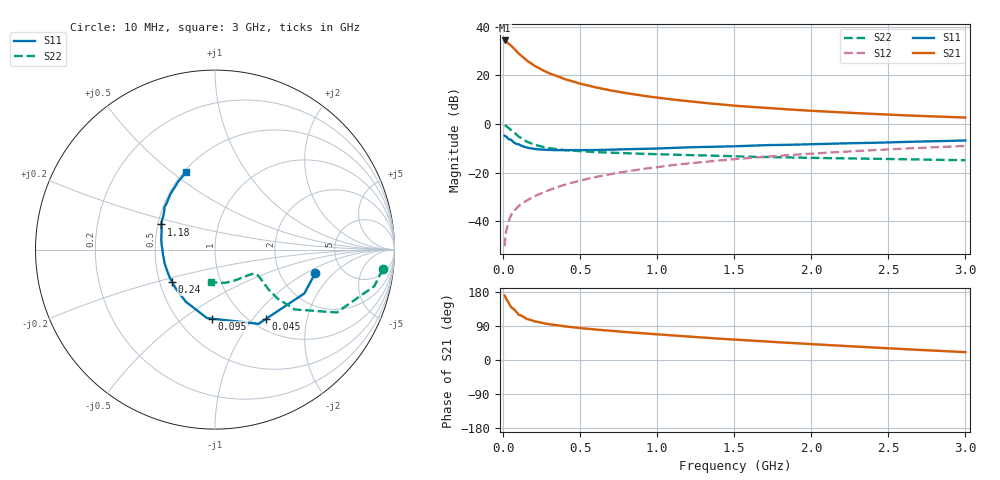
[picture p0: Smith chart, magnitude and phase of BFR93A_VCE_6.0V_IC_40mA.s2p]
! Infineon Technologies  Discrete & RF Semiconductors
! BFR93A
! VCE =  6.0 V,  IC =  40 mA
! Common Emitter S-Parameters:  Nov 2015
# GHz  S  MA  R  50
!  f  S11  S21  S12  S22
! GHz  MAG  ANG  MAG  ANG  MAG  ANG  MAG  ANG
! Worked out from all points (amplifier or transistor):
!   180 points, 10 MHz to 3 GHz, reference 50 ohm
!   highest |S21| = 34.3 dB at 10 MHz (marker M1)
!   |S21| within 3 dB of that: start of sweep to 65.63 MHz
!   unconditionally stable (mu >= 1): 326.6 MHz to 2.713 GHz
!   at 160 MHz: K = 0.82, MSG = 28.5 dB, |S12| = -31.2 dB
!   at 1.22 GHz: K = 1.08, MAG = 11.0 dB, |S12| = -16.1 dB
!   at 3 GHz: K = 0.98, MSG = 5.8 dB, |S12| = -9.0 dB
!   S11 on the Smith chart (normalised r, x): 10 MHz: 3.16, -1.23; 45 MHz: 1.17, -1.17; 95 MHz: 0.72, -0.65; 240 MHz: 0.58, -0.23; 1.18 GHz: 0.52, +0.16; 3 GHz: 0.51, +0.56
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0.01  0.5735 -13.2  52.09 170.2  0.0031 84.2  0.9406 -6.7
0.02  0.5545 -26.1  50.19 161.6  0.0063 78.2  0.9106 -12.9
0.045  0.4794 -53.5  42.39 144.3  0.012 70.4  0.7846 -24.5
0.05  0.4795 -59.6  41.39 140.2  0.0131 69.7  0.764 -27.3
0.095  0.3851 -92.4  29.38 122.7  0.0199 65.1  0.5757 -35.6
0.1  0.3842 -96.7  28.29 119.9  0.0207 64.8  0.5558 -36.9
0.15  0.3329 -119.1  20.6 109.1  0.0264 65.3  0.4411 -38.0
0.2  0.3095 -133.9  16.03 102.5  0.0322 67.1  0.3796 -36.9
0.24  0.3001 -142.6  13.65 98.9  0.0369 68.4  0.35 -35.6
0.26  0.2975 -146.2  12.65 97.2  0.0393 69.0  0.338 -35.0
0.3  0.2939 -151.9  11.01 94.3  0.0441 70.0  0.3196 -33.8
0.4  0.291 -164.2  8.359 88.7  0.0566 71.5  0.2915 -31.7
0.52  0.2912 -174.9  6.531 83.5  0.0714 71.8  0.2744 -30.9
0.6  0.2924 -179.8  5.672 80.4  0.0815 71.6  0.2656 -30.7
0.7  0.2985 174.9  4.888 76.9  0.094 71.1  0.2579 -31.4
0.88  0.3078 165.9  3.933 71.3  0.1159 69.8  0.2462 -33.4
1.02  0.3159 160.4  3.421 67.1  0.1331 68.5  0.2396 -35.5
1.18  0.3304 154.9  2.994 62.6  0.1525 66.8  0.2314 -38.8
1.52  0.3506 144.5  2.357 53.4  0.1918 63.1  0.2164 -46.4
2.02  0.3862 131.9  1.855 41.4  0.2484 57.5  0.2016 -60.2
2.52  0.4219 120.6  1.549 30.5  0.3038 51.4  0.1909 -76.3
3  0.4599 110.4  1.36 20.7  0.3553 45.6  0.1814 -96.2
